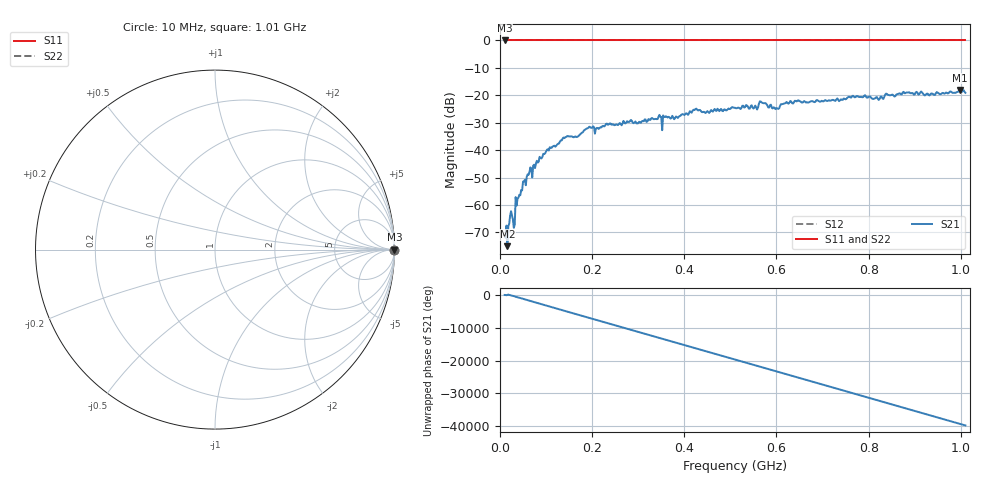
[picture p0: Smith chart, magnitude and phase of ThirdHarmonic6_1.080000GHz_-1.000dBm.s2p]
! 8/16/2025 9:54:55 AM
! C:\ANRITSUVNA\TEMP\TEMP.S2P
! CHANNEL.1
! TR.MEASUREMENT
! RAW.DATA
! RF.CORRECTION.OFF
! AVERAGING.OFF
! IF.BANDWIDTH: 5KHZ
! SWEEPTYPE:  FREQ.SWEEP(Linear)
! Reference Plane Port Info
! PORT:  PORT1  PORT2
! DISTANCE:  0  m  0  m
! TIME:  0  s  0  s
! PHASE.OFFSET:  0  deg.  0  deg.
! LOSS:  0  dB  0  dB
! REF.LOSS:  0  dB  0  dB
! REF.FREQ:  0  Hz  0  Hz
! Power Info
! POWER:  -20  dBm  -20  dBm
! EFF.POWER:  -20  dBm  -20  dBm
! SOURCE.ATTEN:  0  dB  0  dB
! TEST.ATTEN:  0  dB  0  dB
# GHZ S RI R 50.0
! FREQ.GHZ  S11RE  S11IM  S21RE  S21IM  S12RE  S12IM  S22RE  S22IM
!; PortSelection: Port_12
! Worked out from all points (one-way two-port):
!   501 points, 10 MHz to 1.01 GHz, reference 50 ohm
!   highest |S21| = -18.05 dB at 998 MHz (marker M1); lowest = -75.0 dB at 16 MHz (marker M2)
!   lowest |S11| = 0.0 dB at 10 MHz (marker M3)
!   |S11| at or under -10 dB: nowhere
!   |S22| runs from 0.0 to 0.0 dB; largest |S21 - S12| = 1.1
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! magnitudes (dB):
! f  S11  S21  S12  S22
! 10 MHz  0.0  -70.9  0.0  0.0
! 16 MHz  0.0  -75.0  0.0  0.0
! 22 MHz  0.0  -63.7  0.0  0.0
! 28 MHz  0.0  -65.3  0.0  0.0
! 34 MHz  0.0  -57.1  0.0  0.0
! 38 MHz  0.0  -57.7  0.0  0.0
! 64 MHz  0.0  -47.9  0.0  0.0
! 106 MHz  0.0  -40.1  0.0  0.0
! 142 MHz  0.0  -35.2  0.0  0.0
! 178 MHz  0.0  -33.6  0.0  0.0
! 198 MHz  0.0  -31.9  0.0  0.0
! 344 MHz  0.0  -27.8  0.0  0.0
! 424 MHz  0.0  -25.0  0.0  0.0
! 510 MHz  0.0  -24.5  0.0  0.0
! 554 MHz  0.0  -23.8  0.0  0.0
! 568 MHz  0.0  -22.6  0.0  0.0
! 602 MHz  0.0  -24.8  0.0  0.0
! 620 MHz  0.0  -22.8  0.0  0.0
! 678 MHz  0.0  -22.2  0.0  0.0
! 844 MHz  0.0  -19.9  0.0  0.0
! 998 MHz  0.0  -18.1  0.0  0.0
! 1.01 GHz  0.0  -19.1  0.0  0.0
